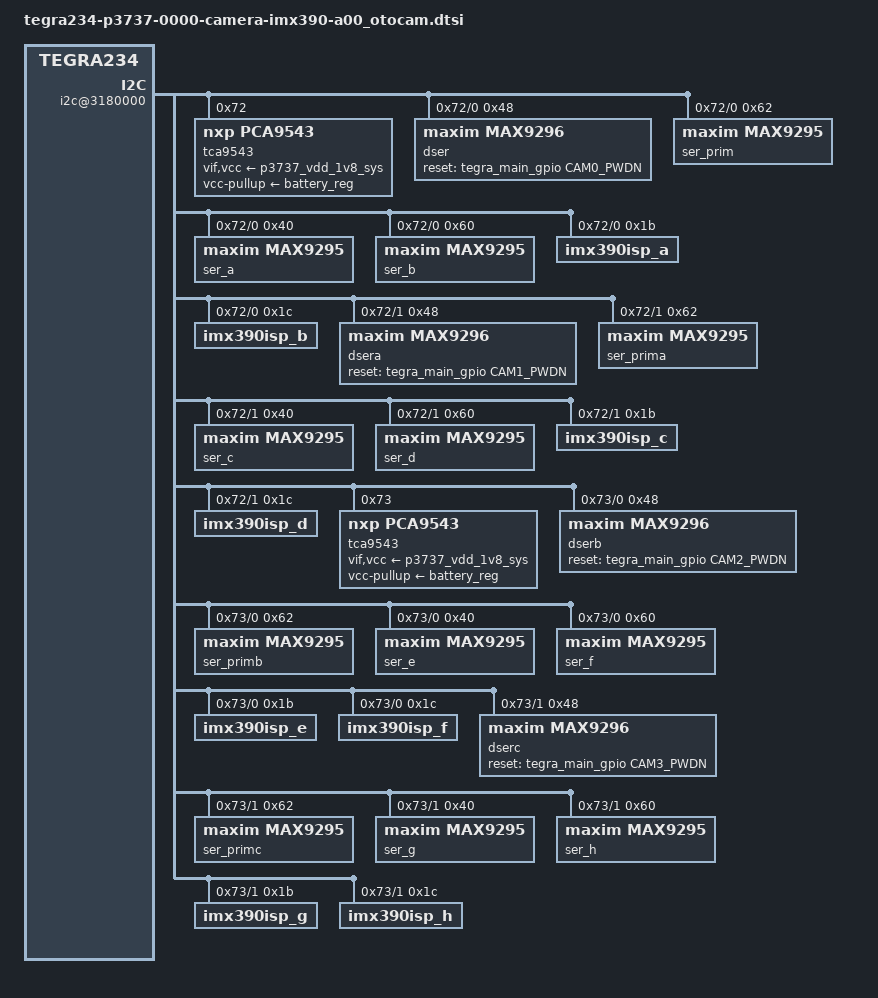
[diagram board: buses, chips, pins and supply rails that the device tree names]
/*
 * Copyright (c) 2018-2021, NVIDIA CORPORATION.  All rights reserved.
 *
 * This program is free software; you can redistribute it and/or modify it
 * under the terms and conditions of the GNU General Public License,
 * version 2, as published by the Free Software Foundation.
 *
 * This program is distributed in the hope it will be useful, but WITHOUT
 * ANY WARRANTY; without even the implied warranty of MERCHANTABILITY or
 * FITNESS FOR A PARTICULAR PURPOSE.  See the GNU General Public License for
 * more details.
 *
 * You should have received a copy of the GNU General Public License
 * along with this program.  If not, see <http://www.gnu.org/licenses/>.
 */
#include <t234-common-modules/tegra234-camera-imx390-a00_otocam.dtsi>
#include "dt-bindings/clock/tegra234-clock.h"


#define CAM0_PWDN	TEGRA234_MAIN_GPIO(H, 6)
#define CAM1_PWDN	TEGRA234_MAIN_GPIO(AC, 0)
#define CAM2_PWDN	TEGRA234_MAIN_GPIO(H, 3)
#define CAM3_PWDN	TEGRA234_MAIN_GPIO(AC, 1)
#define CAMERA_I2C_MUX_BUS(x) (0x1E + x)

/* camera control gpio definitions */

/ {
	i2c@3180000 {
		tca9543@72 {
			compatible = "nxp,pca9543";
			reg = <0x72>;
			#address-cells = <1>;
			#size-cells = <0>;
			skip_mux_detect = "yes";
			vif-supply = <&p3737_vdd_1v8_sys>;
			vcc-supply = <&p3737_vdd_1v8_sys>;
			vcc-pullup-supply = <&battery_reg>;
			force_bus_start = <CAMERA_I2C_MUX_BUS(0)>;
			i2c-mux-idle-disconnect;
			i2c@0 {
				reg = <0>;
				i2c-mux,deselect-on-exit;
				#address-cells = <1>;
				#size-cells = <0>;
				i2c-mux-idle-disconnect;
				dser: max9296@48 {
					compatible = "maxim,max9296";
					streams = "yuv8";
					reg = <0x48>;
					csi-mode = "2x4";
					max-src = <2>;
					fsync-gpio = <6>; //fsync gpio on 9296
					reset-gpios = <&tegra_main_gpio CAM0_PWDN GPIO_ACTIVE_HIGH>;
				};
				ser_prim: max9295_prim@62 {
					compatible = "maxim,max9295";
					reg = <0x62>;
					is-prim-ser;
				};
				ser_a: max9295_a@40 {
					compatible = "maxim,max9295";
					reg = <0x40>;
					nvidia,gmsl-dser-device = <&dser>;
				};
				ser_b: max9295_b@60 {
					compatible = "maxim,max9295";
					reg = <0x60>;
					nvidia,gmsl-dser-device = <&dser>;
				};
				imx390isp_a@1b {
					reg = <0x1b>;
					
					/* Define any required hw resources needed by driver */
					/* ie. clocks, io pins, power sources */
					clocks = <&bpmp_clks TEGRA234_CLK_EXTPERIPH1>,
							<&bpmp_clks TEGRA234_CLK_EXTPERIPH1>;
					clock-names = "extperiph1", "pllp_grtba";
					mclk = "extperiph1";
					nvidia,gmsl-ser-device = <&ser_a>;
					nvidia,gmsl-dser-device = <&dser>;
				};
				imx390isp_b@1c {
					reg = <0x1c>;
					
					/* Define any required hw resources needed by driver */
					/* ie. clocks, io pins, power sources */
					clocks = <&bpmp_clks TEGRA234_CLK_EXTPERIPH1>,
							<&bpmp_clks TEGRA234_CLK_EXTPERIPH1>;
					clock-names = "extperiph1", "pllp_grtba";
					mclk = "extperiph1";
					nvidia,gmsl-ser-device = <&ser_b>;
					nvidia,gmsl-dser-device = <&dser>;
				};
			};
			i2c@1 {
				reg = <1>;
				i2c-mux,deselect-on-exit;
				#address-cells = <1>;
				#size-cells = <0>;
				i2c-mux-idle-disconnect;
				dsera: max9296@48 {
					compatible = "maxim,max9296";
					//streams = "yuv8";
					reg = <0x48>;
					csi-mode = "2x4";
					max-src = <2>;
					reset-gpios = <&tegra_main_gpio CAM1_PWDN GPIO_ACTIVE_HIGH>;
                                        fsync-gpio = <6>; //fsync gpio on 9296
				};
				ser_prima: max9295_prim@62 {
					compatible = "maxim,max9295";
					//streams = "yuv8";
					reg = <0x62>;
					is-prim-ser;
				};
				ser_c: max9295_a@40 {
					compatible = "maxim,max9295";
					reg = <0x40>;
					nvidia,gmsl-dser-device = <&dsera>;
				};
				ser_d: max9295_b@60 {
					compatible = "maxim,max9295";
					reg = <0x60>;
					nvidia,gmsl-dser-device = <&dsera>;
				};
				imx390isp_c@1b{
					reg = <0x1b>;
						
					clocks = <&bpmp_clks TEGRA234_CLK_EXTPERIPH1>,
							<&bpmp_clks TEGRA234_CLK_EXTPERIPH1>;
					clock-names = "extperiph1", "pllp_grtba";
					mclk = "extperiph1";
					nvidia,gmsl-ser-device = <&ser_c>;
					nvidia,gmsl-dser-device = <&dsera>;
				};
				imx390isp_d@1c {
					reg = <0x1c>;
						
					clocks = <&bpmp_clks TEGRA234_CLK_EXTPERIPH1>,
							<&bpmp_clks TEGRA234_CLK_EXTPERIPH1>;
					clock-names = "extperiph1", "pllp_grtba";
					mclk = "extperiph1";
					nvidia,gmsl-ser-device = <&ser_d>;
					nvidia,gmsl-dser-device = <&dsera>;
				};
			};

		};
		tca9543@73 {
			compatible = "nxp,pca9543";
			reg = <0x73>;
			#address-cells = <1>;
			#size-cells = <0>;
			skip_mux_detect = "yes";
			vif-supply = <&p3737_vdd_1v8_sys>;
			vcc-supply = <&p3737_vdd_1v8_sys>;
			vcc-pullup-supply = <&battery_reg>;
			force_bus_start = <CAMERA_I2C_MUX_BUS(2)>;
			i2c-mux-idle-disconnect;
			i2c@0 {
				reg = <0>;
				i2c-mux,deselect-on-exit;
				address-cells = <1>;
				#size-cells = <0>;
				i2c-mux-idle-disconnect;
				dserb: max9296@48 {
					compatible = "maxim,max9296";
					//streams = "yuv8";
					reg = <0x48>;
					csi-mode = "2x4";
					max-src = <2>;
					reset-gpios = <&tegra_main_gpio CAM2_PWDN GPIO_ACTIVE_HIGH>;
                                        fsync-gpio = <6>; //fsync gpio on 9296
				};
				ser_primb: max9295_prim@62 {
					compatible = "maxim,max9295";
					//streams = "yuv8";
					reg = <0x62>;
					is-prim-ser;
				};
				ser_e: max9295_a@40 {
					compatible = "maxim,max9295";
					reg = <0x40>;
					nvidia,gmsl-dser-device = <&dserb>;
				};
				ser_f: max9295_b@60 {
					compatible = "maxim,max9295";
					reg = <0x60>;
					nvidia,gmsl-dser-device = <&dserb>;
				};
				imx390isp_e@1b {
					reg = <0x1b>;
					
					/* Define any required hw resources needed by driver */
					/* ie. clocks, io pins, power sources */
					clocks = <&bpmp_clks TEGRA234_CLK_EXTPERIPH1>,
							<&bpmp_clks TEGRA234_CLK_EXTPERIPH1>;
					clock-names = "extperiph1", "pllp_grtba";
					mclk = "extperiph1";
					nvidia,gmsl-ser-device = <&ser_e>;
					nvidia,gmsl-dser-device = <&dserb>;
				};
				imx390isp_f@1c {
					reg = <0x1c>;
					
					/* Define any required hw resources needed by driver */
					/* ie. clocks, io pins, power sources */
					clocks = <&bpmp_clks TEGRA234_CLK_EXTPERIPH1>,
							<&bpmp_clks TEGRA234_CLK_EXTPERIPH1>;
					clock-names = "extperiph1", "pllp_grtba";
					mclk = "extperiph1";
					nvidia,gmsl-ser-device = <&ser_f>;
					nvidia,gmsl-dser-device = <&dserb>;
				};
			};
			i2c@1 {
				reg = <1>;
				i2c-mux,deselect-on-exit;
				#address-cells = <1>;
				#size-cells = <0>;
				i2c-mux-idle-disconnect;
				dserc: max9296@48 {
					compatible = "maxim,max9296";
					//streams = "yuv8";
					reg = <0x48>;
					csi-mode = "2x4";
					max-src = <2>;
					reset-gpios = <&tegra_main_gpio CAM3_PWDN GPIO_ACTIVE_HIGH>;
                                        fsync-gpio = <6>; //fsync gpio on 9296
				};
				ser_primc: max9295_prim@62 {
					compatible = "maxim,max9295";
					//streams = "yuv8";
					reg = <0x62>;
					is-prim-ser;
				};
				ser_g: max9295_a@40 {
					compatible = "maxim,max9295";
					reg = <0x40>;
					nvidia,gmsl-dser-device = <&dserc>;
				};
				ser_h: max9295_b@60 {
					compatible = "maxim,max9295";
					reg = <0x60>;
					nvidia,gmsl-dser-device = <&dserc>;
				};
				imx390isp_g@1b {
					reg = <0x1b>;
					
					clocks = <&bpmp_clks TEGRA234_CLK_EXTPERIPH1>,
							<&bpmp_clks TEGRA234_CLK_EXTPERIPH1>;
					clock-names = "extperiph1", "pllp_grtba";
					mclk = "extperiph1";
					nvidia,gmsl-ser-device = <&ser_g>;
					nvidia,gmsl-dser-device = <&dserc>;
				};
				imx390isp_h@1c {
					reg = <0x1c>;
					
					clocks = <&bpmp_clks TEGRA234_CLK_EXTPERIPH1>,
							<&bpmp_clks TEGRA234_CLK_EXTPERIPH1>;
					clock-names = "extperiph1", "pllp_grtba";
					mclk = "extperiph1";
					nvidia,gmsl-ser-device = <&ser_h>;
					nvidia,gmsl-dser-device = <&dserc>;
				};
			};

		};
	};
};
